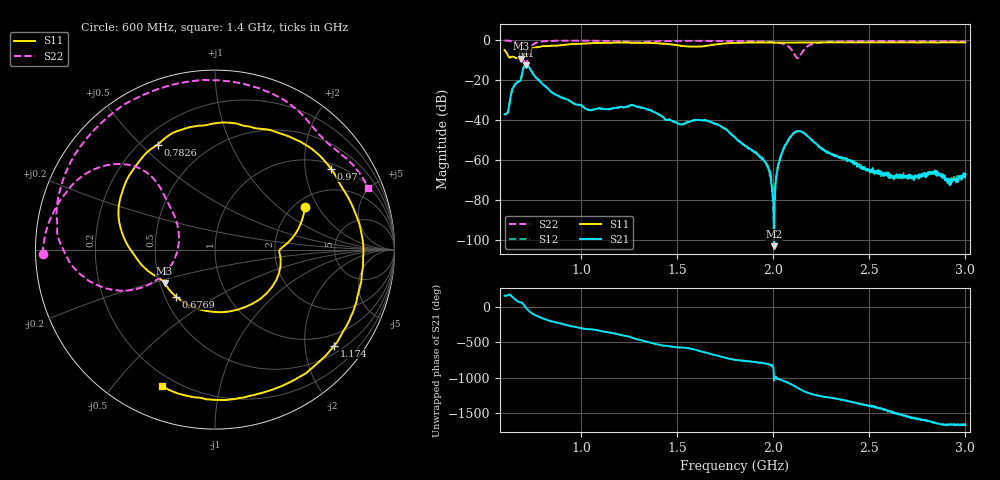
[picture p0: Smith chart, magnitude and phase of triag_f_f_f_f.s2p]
#  HZ  S  RI  R  50.00
! Rohde & Schwarz ZVB8 2Ports - Version 2.81 - 1145.1010k08 SN: 100113
! Date: 2016-05-03 01:38:39
! Measurements: S11 S21 S12 S22
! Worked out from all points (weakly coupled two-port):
!   1000 points, 600 MHz to 3 GHz, reference 50 ohm
!   highest |S21| = -12.67 dB at 712.9 MHz (marker M1); lowest = -103.0 dB at 2.003 GHz (marker M2)
!   lowest |S11| = -9.4 dB at 686.5 MHz (marker M3), VSWR 2.02, Z = 26.4 - j11.2 ohm
!   |S11| at or under -10 dB: nowhere
!   |S22| runs from -13.7 to -0.3 dB; largest |S21 - S12| = 0.005
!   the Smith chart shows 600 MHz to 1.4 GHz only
!   S11 on the Smith chart (normalised r, x): 600 MHz: 2.28, +1.56; 676.9 MHz: 0.57, -0.34; 782.6 MHz: 0.27, +0.56; 970 MHz: 1.15, +2.74; 1.174 GHz: 0.68, -2.69; 1.4 GHz: 0.15, -0.67
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6e8  0.5024 0.2361  -0.0135 0.00319  -0.0135 0.00309  -0.9604 -0.0242
6.768769e8  -0.2169 -0.2622  0.0263 0.0886  0.0263 0.089  -0.5686 0.4757
6.864865e8  -0.2813 -0.1876  0.0357 0.1057  0.0349 0.1054  -0.3832 0.4316
7.129129e8  -0.4536 -0.0258  0.2288 -0.0413  0.2294 -0.0364  -0.2091 -0.00981
7.369369e8  -0.5363 0.2389  0.0435 -0.1678  0.042 -0.168  -0.6069 -0.216
7.825826e8  -0.3196 0.5851  -0.0719 -0.0595  -0.0714 -0.0591  -0.8796 0.1349
9.6997e8  0.6456 0.4512  0.00405 0.0242  0.00391 0.0242  -0.4655 0.83
1.001201e9  0.727 0.3152  0.011 0.0201  0.0108 0.0202  -0.3511 0.8821
1.174174e9  0.6652 -0.5349  0.0194 -0.00459  0.0194 -0.00444  0.3108 0.8722
1.4e9  -0.2962 -0.7599  -0.0138 -0.00253  -0.0137 -0.00246  0.8534 0.3454
1.575375e9  -0.5962 -0.3139  -0.0059 0.00747  -0.00595 0.00746  0.8779 -0.331
1.801201e9  -0.785 0.285  0.0032 -0.00173  0.00319 -0.00168  0.2872 -0.8818
1.957357e9  -0.4063 0.752  0.000182 -0.000871  0.00014 -0.000867  -0.2677 -0.862
2.003003e9  -0.2364 0.8106  5.64e-06 4.35e-06  -1.94e-05 3.17e-06  -0.4241 -0.7626
2.036637e9  -0.1222 0.8332  0.000767 0.000869  0.000754 0.000907  -0.5209 -0.6427
2.091892e9  0.0816 0.8388  0.00374 -0.000993  0.00388 -0.0011  -0.4906 -0.3109
2.144745e9  0.2876 0.8037  -0.000423 -0.00511  -0.000482 -0.00511  -0.1154 -0.4348
2.2e9  0.4888 0.6999  -0.00285 -0.00125  -0.00292 -0.00133  -0.3455 -0.6945
2.401802e9  0.8619 -0.0317  -8.31e-05 0.000931  -6.73e-05 0.00095  -0.8642 -0.3036
2.601201e9  0.461 -0.7282  0.000369 -0.000295  0.000365 -0.000225  -0.9066 0.179
2.786186e9  -0.2244 -0.8299  -0.000389 -6.73e-05  -0.000436 -7.31e-05  -0.7196 0.5685
3e9  -0.7806 -0.3666  -0.000236 0.000378  -0.000315 0.000381  -0.3156 0.8512
